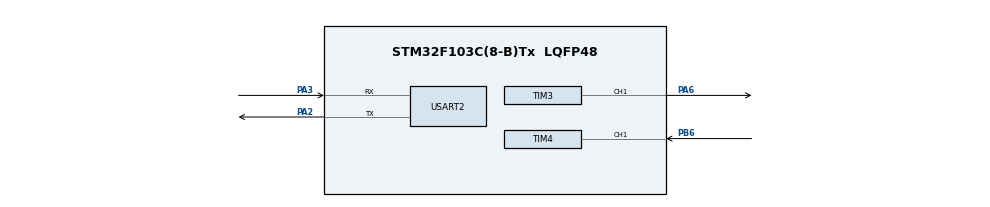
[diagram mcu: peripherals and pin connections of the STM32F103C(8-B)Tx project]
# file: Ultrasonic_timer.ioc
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Mcu.Family=STM32F1
Mcu.Name=STM32F103C(8-B)Tx
Mcu.Package=LQFP48
NVIC.PriorityGroup=NVIC_PRIORITYGROUP_4
NVIC.TIM4_IRQn=true\:0\:0\:false\:false\:true\:true\:true\:true
PA13.Mode=Serial_Wire
PA13.Signal=SYS_JTMS-SWDIO
PA14.Mode=Serial_Wire
PA14.Signal=SYS_JTCK-SWCLK
PA2.Mode=Asynchronous
PA2.Signal=USART2_TX
PA3.Mode=Asynchronous
PA3.Signal=USART2_RX
PA6.Signal=S_TIM3_CH1
PB6.Signal=S_TIM4_CH1
PD0-OSC_IN.Mode=HSE-External-Oscillator
PD0-OSC_IN.Signal=RCC_OSC_IN
PD1-OSC_OUT.Mode=HSE-External-Oscillator
PD1-OSC_OUT.Signal=RCC_OSC_OUT
ProjectManager.HeapSize=0x200
ProjectManager.StackSize=0x400
ProjectManager.TargetToolchain=MDK-ARM V5.32
RCC.APB1Freq_Value=8000000
RCC.APB2Freq_Value=8000000
RCC.PLLSourceVirtual=RCC_PLLSOURCE_HSE
RCC.USBFreq_Value=16000000
SH.S_TIM3_CH1.0=TIM3_CH1,PWM Generation1 CH1
SH.S_TIM4_CH1.0=TIM4_CH1,PWM_Input_1
TIM3.Channel-PWM\ Generation1\ CH1=TIM_CHANNEL_1
TIM3.OCMode_PWM-PWM\ Generation1\ CH1=TIM_OCMODE_PWM2
TIM3.Period=50000-1
TIM3.Prescaler=8-1
TIM3.Pulse-PWM\ Generation1\ CH1=50000-12
TIM4.ICPolarity_1=TIM_INPUTCHANNELPOLARITY_FALLING
TIM4.Prescaler=8-1
USART2.VirtualMode=VM_ASYNC
VP_TIM3_VS_ClockSourceINT.Mode=Internal
VP_TIM4_VS_ClockSourceINT.Mode=Internal
board=custom

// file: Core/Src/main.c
/* USER CODE BEGIN Header */
/**
  ******************************************************************************
  * @file           : main.c
  * @brief          : Main program body
  ******************************************************************************
  * @attention
  *
  * Copyright (c) 2025 STMicroelectronics.
  * All rights reserved.
  *
  * This software is licensed under terms that can be found in the LICENSE file
  * in the root directory of this software component.
  * If no LICENSE file comes with this software, it is provided AS-IS.
  *
  ******************************************************************************
  */
/* USER CODE END Header */
#include "main.h"

/* USER CODE BEGIN Includes */
#include <stdio.h>
/* USER CODE END Includes */

TIM_HandleTypeDef htim3;
TIM_HandleTypeDef htim4;

UART_HandleTypeDef huart2;

void SystemClock_Config(void);
static void MX_GPIO_Init(void);
static void MX_TIM3_Init(void);
static void MX_TIM4_Init(void);
static void MX_USART2_UART_Init(void);

/* USER CODE BEGIN 0 */
uint32_t icValue1=0 ,icValue2=0 ,diff=0;
float duty=0, dist=0;

void HAL_TIM_IC_CaptureCallback(TIM_HandleTypeDef *htim)
{
	if(htim->Channel == HAL_TIM_ACTIVE_CHANNEL_1)
	{
		icValue1 = HAL_TIM_ReadCapturedValue(htim, TIM_CHANNEL_1);
		icValue2 = HAL_TIM_ReadCapturedValue(htim, TIM_CHANNEL_2);

		diff= icValue1 - icValue2;
		duty = diff/1000000.0;
		dist = duty*340*100.0/2;
	}

}
/* USER CODE END 0 */

int main(void)
{

  /* MCU Configuration--------------------------------------------------------*/

  /* Reset of all peripherals, Initializes the Flash interface and the Systick. */
  HAL_Init();

  /* Configure the system clock */
  SystemClock_Config();

  /* Initialize all configured peripherals */
  MX_GPIO_Init();
  MX_TIM3_Init();
  MX_TIM4_Init();
  MX_USART2_UART_Init();
  /* USER CODE BEGIN 2 */
	HAL_TIM_PWM_Start(&htim3, TIM_CHANNEL_1);
	HAL_TIM_IC_Start_IT(&htim4, TIM_CHANNEL_1);
	HAL_TIM_IC_Start_IT(&htim4, TIM_CHANNEL_2);
  /* USER CODE END 2 */

  /* Infinite loop */
  /* USER CODE BEGIN WHILE */
  while (1)
  {
		printf("distance = %0.3f cm\r\n",dist);
		HAL_Delay(1000);
    /* USER CODE END WHILE */

  }
}

void SystemClock_Config(void)
{
  RCC_OscInitTypeDef RCC_OscInitStruct = {0};
  RCC_ClkInitTypeDef RCC_ClkInitStruct = {0};

  /** Initializes the RCC Oscillators according to the specified parameters
  * in the RCC_OscInitTypeDef structure.
  */
  RCC_OscInitStruct.OscillatorType = RCC_OSCILLATORTYPE_HSI;
  RCC_OscInitStruct.HSIState = RCC_HSI_ON;
  RCC_OscInitStruct.HSICalibrationValue = RCC_HSICALIBRATION_DEFAULT;
  RCC_OscInitStruct.PLL.PLLState = RCC_PLL_NONE;
  if (HAL_RCC_OscConfig(&RCC_OscInitStruct) != HAL_OK)
  {
    Error_Handler();
  }

  /** Initializes the CPU, AHB and APB buses clocks
  */
  RCC_ClkInitStruct.ClockType = RCC_CLOCKTYPE_HCLK|RCC_CLOCKTYPE_SYSCLK
                              |RCC_CLOCKTYPE_PCLK1|RCC_CLOCKTYPE_PCLK2;
  RCC_ClkInitStruct.SYSCLKSource = RCC_SYSCLKSOURCE_HSI;
  RCC_ClkInitStruct.AHBCLKDivider = RCC_SYSCLK_DIV1;
  RCC_ClkInitStruct.APB1CLKDivider = RCC_HCLK_DIV1;
  RCC_ClkInitStruct.APB2CLKDivider = RCC_HCLK_DIV1;

  if (HAL_RCC_ClockConfig(&RCC_ClkInitStruct, FLASH_LATENCY_0) != HAL_OK)
  {
    Error_Handler();
  }
}

static void MX_TIM3_Init(void)
{

  TIM_ClockConfigTypeDef sClockSourceConfig = {0};
  TIM_MasterConfigTypeDef sMasterConfig = {0};
  TIM_OC_InitTypeDef sConfigOC = {0};

  htim3.Instance = TIM3;
  htim3.Init.Prescaler = 8-1;
  htim3.Init.CounterMode = TIM_COUNTERMODE_UP;
  htim3.Init.Period = 50000-1;
  htim3.Init.ClockDivision = TIM_CLOCKDIVISION_DIV1;
  htim3.Init.AutoReloadPreload = TIM_AUTORELOAD_PRELOAD_DISABLE;
  if (HAL_TIM_Base_Init(&htim3) != HAL_OK)
  {
    Error_Handler();
  }
  sClockSourceConfig.ClockSource = TIM_CLOCKSOURCE_INTERNAL;
  if (HAL_TIM_ConfigClockSource(&htim3, &sClockSourceConfig) != HAL_OK)
  {
    Error_Handler();
  }
  if (HAL_TIM_PWM_Init(&htim3) != HAL_OK)
  {
    Error_Handler();
  }
  sMasterConfig.MasterOutputTrigger = TIM_TRGO_RESET;
  sMasterConfig.MasterSlaveMode = TIM_MASTERSLAVEMODE_DISABLE;
  if (HAL_TIMEx_MasterConfigSynchronization(&htim3, &sMasterConfig) != HAL_OK)
  {
    Error_Handler();
  }
  sConfigOC.OCMode = TIM_OCMODE_PWM2;
  sConfigOC.Pulse = 50000-12;
  sConfigOC.OCPolarity = TIM_OCPOLARITY_HIGH;
  sConfigOC.OCFastMode = TIM_OCFAST_DISABLE;
  if (HAL_TIM_PWM_ConfigChannel(&htim3, &sConfigOC, TIM_CHANNEL_1) != HAL_OK)
  {
    Error_Handler();
  }
  HAL_TIM_MspPostInit(&htim3);

}

static void MX_TIM4_Init(void)
{

  TIM_ClockConfigTypeDef sClockSourceConfig = {0};
  TIM_SlaveConfigTypeDef sSlaveConfig = {0};
  TIM_IC_InitTypeDef sConfigIC = {0};
  TIM_MasterConfigTypeDef sMasterConfig = {0};

  htim4.Instance = TIM4;
  htim4.Init.Prescaler = 8-1;
  htim4.Init.CounterMode = TIM_COUNTERMODE_UP;
  htim4.Init.Period = 65535;
  htim4.Init.ClockDivision = TIM_CLOCKDIVISION_DIV1;
  htim4.Init.AutoReloadPreload = TIM_AUTORELOAD_PRELOAD_DISABLE;
  if (HAL_TIM_Base_Init(&htim4) != HAL_OK)
  {
    Error_Handler();
  }
  sClockSourceConfig.ClockSource = TIM_CLOCKSOURCE_INTERNAL;
  if (HAL_TIM_ConfigClockSource(&htim4, &sClockSourceConfig) != HAL_OK)
  {
    Error_Handler();
  }
  if (HAL_TIM_IC_Init(&htim4) != HAL_OK)
  {
    Error_Handler();
  }
  sSlaveConfig.SlaveMode = TIM_SLAVEMODE_RESET;
  sSlaveConfig.InputTrigger = TIM_TS_TI1FP1;
  sSlaveConfig.TriggerPolarity = TIM_INPUTCHANNELPOLARITY_FALLING;
  sSlaveConfig.TriggerPrescaler = TIM_ICPSC_DIV1;
  sSlaveConfig.TriggerFilter = 0;
  if (HAL_TIM_SlaveConfigSynchro(&htim4, &sSlaveConfig) != HAL_OK)
  {
    Error_Handler();
  }
  sConfigIC.ICPolarity = TIM_INPUTCHANNELPOLARITY_FALLING;
  sConfigIC.ICSelection = TIM_ICSELECTION_DIRECTTI;
  sConfigIC.ICPrescaler = TIM_ICPSC_DIV1;
  sConfigIC.ICFilter = 0;
  if (HAL_TIM_IC_ConfigChannel(&htim4, &sConfigIC, TIM_CHANNEL_1) != HAL_OK)
  {
    Error_Handler();
  }
  sConfigIC.ICPolarity = TIM_INPUTCHANNELPOLARITY_RISING;
  sConfigIC.ICSelection = TIM_ICSELECTION_INDIRECTTI;
  if (HAL_TIM_IC_ConfigChannel(&htim4, &sConfigIC, TIM_CHANNEL_2) != HAL_OK)
  {
    Error_Handler();
  }
  sMasterConfig.MasterOutputTrigger = TIM_TRGO_RESET;
  sMasterConfig.MasterSlaveMode = TIM_MASTERSLAVEMODE_DISABLE;
  if (HAL_TIMEx_MasterConfigSynchronization(&htim4, &sMasterConfig) != HAL_OK)
  {
    Error_Handler();
  }

}

static void MX_USART2_UART_Init(void)
{

  huart2.Instance = USART2;
  huart2.Init.BaudRate = 115200;
  huart2.Init.WordLength = UART_WORDLENGTH_8B;
  huart2.Init.StopBits = UART_STOPBITS_1;
  huart2.Init.Parity = UART_PARITY_NONE;
  huart2.Init.Mode = UART_MODE_TX_RX;
  huart2.Init.HwFlowCtl = UART_HWCONTROL_NONE;
  huart2.Init.OverSampling = UART_OVERSAMPLING_16;
  if (HAL_UART_Init(&huart2) != HAL_OK)
  {
    Error_Handler();
  }

}

static void MX_GPIO_Init(void)
{

  /* GPIO Ports Clock Enable */
  __HAL_RCC_GPIOD_CLK_ENABLE();
  __HAL_RCC_GPIOA_CLK_ENABLE();
  __HAL_RCC_GPIOB_CLK_ENABLE();

}

/* USER CODE BEGIN 4 */
struct __FILE{
  int handle;
  /* Whatever you require here. If the only file you are using is */
  /* standard output using printf() for debugging, no file handling */
  /* is required. */
};
FILE __stdout;

int fputc(int ch, FILE *f){
	HAL_UART_Transmit(&huart2, (uint8_t *)&ch, 1, 0xFFFF);
  return ch;
}

int ferror(FILE *f){
  /* Your implementation of ferror(). */
  return 0;
}
/* USER CODE END 4 */

void Error_Handler(void)
{
  __disable_irq();
  while (1)
  {
  }
}
